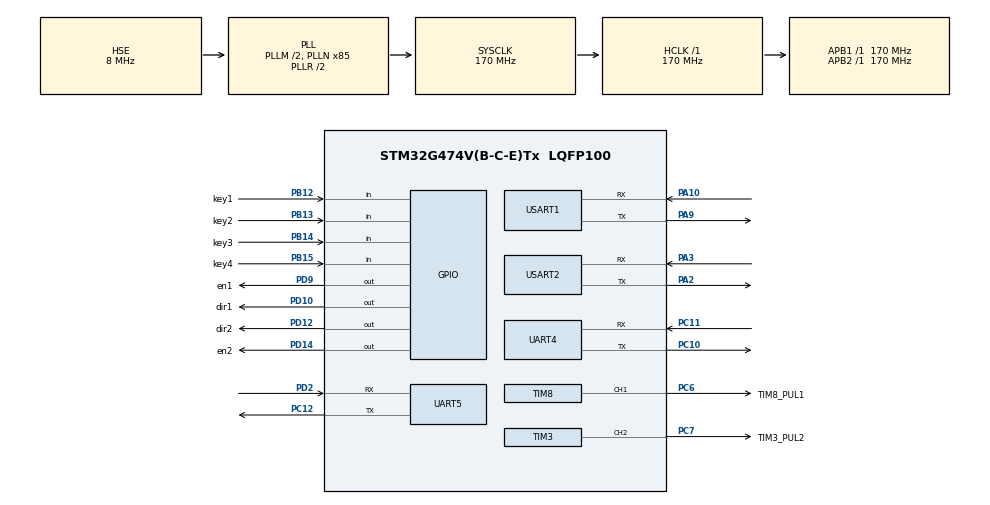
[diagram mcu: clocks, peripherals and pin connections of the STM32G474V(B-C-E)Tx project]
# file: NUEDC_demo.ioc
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Dma.MEMTOMEM.4.Direction=DMA_MEMORY_TO_MEMORY
Dma.MEMTOMEM.4.EventEnable=DISABLE
Dma.MEMTOMEM.4.Instance=DMA1_Channel1
Dma.MEMTOMEM.4.MemDataAlignment=DMA_MDATAALIGN_BYTE
Dma.MEMTOMEM.4.MemInc=DMA_MINC_ENABLE
Dma.MEMTOMEM.4.Mode=DMA_NORMAL
Dma.MEMTOMEM.4.PeriphDataAlignment=DMA_PDATAALIGN_BYTE
Dma.MEMTOMEM.4.PeriphInc=DMA_PINC_ENABLE
Dma.MEMTOMEM.4.Polarity=HAL_DMAMUX_REQ_GEN_RISING
Dma.MEMTOMEM.4.Priority=DMA_PRIORITY_LOW
Dma.MEMTOMEM.4.RequestNumber=1
Dma.MEMTOMEM.4.SignalID=NONE
Dma.MEMTOMEM.4.SyncEnable=DISABLE
Dma.MEMTOMEM.4.SyncPolarity=HAL_DMAMUX_SYNC_NO_EVENT
Dma.MEMTOMEM.4.SyncRequestNumber=1
Dma.MEMTOMEM.4.SyncSignalID=NONE
Dma.MEMTOMEM.5.Direction=DMA_MEMORY_TO_MEMORY
Dma.MEMTOMEM.5.EventEnable=DISABLE
Dma.MEMTOMEM.5.Instance=DMA2_Channel1
Dma.MEMTOMEM.5.MemDataAlignment=DMA_MDATAALIGN_BYTE
Dma.MEMTOMEM.5.MemInc=DMA_MINC_ENABLE
Dma.MEMTOMEM.5.Mode=DMA_NORMAL
Dma.MEMTOMEM.5.PeriphDataAlignment=DMA_PDATAALIGN_BYTE
Dma.MEMTOMEM.5.PeriphInc=DMA_PINC_ENABLE
Dma.MEMTOMEM.5.Polarity=HAL_DMAMUX_REQ_GEN_RISING
Dma.MEMTOMEM.5.Priority=DMA_PRIORITY_LOW
Dma.MEMTOMEM.5.RequestNumber=1
Dma.MEMTOMEM.5.SignalID=NONE
Dma.MEMTOMEM.5.SyncEnable=DISABLE
Dma.MEMTOMEM.5.SyncPolarity=HAL_DMAMUX_SYNC_NO_EVENT
Dma.MEMTOMEM.5.SyncRequestNumber=1
Dma.MEMTOMEM.5.SyncSignalID=NONE
Dma.Request0=UART4_RX
Dma.Request1=UART4_TX
Dma.Request2=UART5_RX
Dma.Request3=UART5_TX
Dma.Request4=MEMTOMEM
Dma.Request5=MEMTOMEM
Dma.Request6=USART2_RX
Dma.Request7=USART2_TX
Dma.UART4_RX.0.Direction=DMA_PERIPH_TO_MEMORY
Dma.UART4_RX.0.EventEnable=DISABLE
Dma.UART4_RX.0.Instance=DMA2_Channel2
Dma.UART4_RX.0.MemDataAlignment=DMA_MDATAALIGN_BYTE
Dma.UART4_RX.0.MemInc=DMA_MINC_ENABLE
Dma.UART4_RX.0.Mode=DMA_CIRCULAR
Dma.UART4_RX.0.PeriphDataAlignment=DMA_PDATAALIGN_BYTE
Dma.UART4_RX.0.PeriphInc=DMA_PINC_DISABLE
Dma.UART4_RX.0.Polarity=HAL_DMAMUX_REQ_GEN_RISING
Dma.UART4_RX.0.Priority=DMA_PRIORITY_HIGH
Dma.UART4_RX.0.RequestNumber=1
Dma.UART4_RX.0.SignalID=NONE
Dma.UART4_RX.0.SyncEnable=DISABLE
Dma.UART4_RX.0.SyncPolarity=HAL_DMAMUX_SYNC_NO_EVENT
Dma.UART4_RX.0.SyncRequestNumber=1
Dma.UART4_RX.0.SyncSignalID=NONE
Dma.UART4_TX.1.Direction=DMA_MEMORY_TO_PERIPH
Dma.UART4_TX.1.EventEnable=DISABLE
Dma.UART4_TX.1.Instance=DMA2_Channel7
Dma.UART4_TX.1.MemDataAlignment=DMA_MDATAALIGN_BYTE
Dma.UART4_TX.1.MemInc=DMA_MINC_ENABLE
Dma.UART4_TX.1.Mode=DMA_NORMAL
Dma.UART4_TX.1.PeriphDataAlignment=DMA_PDATAALIGN_BYTE
Dma.UART4_TX.1.PeriphInc=DMA_PINC_DISABLE
Dma.UART4_TX.1.Polarity=HAL_DMAMUX_REQ_GEN_RISING
Dma.UART4_TX.1.Priority=DMA_PRIORITY_HIGH
Dma.UART4_TX.1.RequestNumber=1
Dma.UART4_TX.1.SignalID=NONE
Dma.UART4_TX.1.SyncEnable=DISABLE
Dma.UART4_TX.1.SyncPolarity=HAL_DMAMUX_SYNC_NO_EVENT
Dma.UART4_TX.1.SyncRequestNumber=1
Dma.UART4_TX.1.SyncSignalID=NONE
Dma.UART5_RX.2.Direction=DMA_PERIPH_TO_MEMORY
Dma.UART5_RX.2.EventEnable=DISABLE
Dma.UART5_RX.2.Instance=DMA1_Channel2
Dma.UART5_RX.2.MemDataAlignment=DMA_MDATAALIGN_BYTE
Dma.UART5_RX.2.MemInc=DMA_MINC_ENABLE
Dma.UART5_RX.2.Mode=DMA_CIRCULAR
Dma.UART5_RX.2.PeriphDataAlignment=DMA_PDATAALIGN_BYTE
Dma.UART5_RX.2.PeriphInc=DMA_PINC_DISABLE
Dma.UART5_RX.2.Polarity=HAL_DMAMUX_REQ_GEN_RISING
Dma.UART5_RX.2.Priority=DMA_PRIORITY_HIGH
Dma.UART5_RX.2.RequestNumber=1
Dma.UART5_RX.2.SignalID=NONE
Dma.UART5_RX.2.SyncEnable=DISABLE
Dma.UART5_RX.2.SyncPolarity=HAL_DMAMUX_SYNC_NO_EVENT
Dma.UART5_RX.2.SyncRequestNumber=1
Dma.UART5_RX.2.SyncSignalID=NONE
Dma.UART5_TX.3.Direction=DMA_MEMORY_TO_PERIPH
Dma.UART5_TX.3.EventEnable=DISABLE
Dma.UART5_TX.3.Instance=DMA1_Channel7
Dma.UART5_TX.3.MemDataAlignment=DMA_MDATAALIGN_BYTE
Dma.UART5_TX.3.MemInc=DMA_MINC_ENABLE
Dma.UART5_TX.3.Mode=DMA_NORMAL
Dma.UART5_TX.3.PeriphDataAlignment=DMA_PDATAALIGN_BYTE
Dma.UART5_TX.3.PeriphInc=DMA_PINC_DISABLE
Dma.UART5_TX.3.Polarity=HAL_DMAMUX_REQ_GEN_RISING
Dma.UART5_TX.3.Priority=DMA_PRIORITY_HIGH
Dma.UART5_TX.3.RequestNumber=1
Dma.UART5_TX.3.SignalID=NONE
Dma.UART5_TX.3.SyncEnable=DISABLE
Dma.UART5_TX.3.SyncPolarity=HAL_DMAMUX_SYNC_NO_EVENT
Dma.UART5_TX.3.SyncRequestNumber=1
Dma.UART5_TX.3.SyncSignalID=NONE
Dma.USART2_RX.6.Direction=DMA_PERIPH_TO_MEMORY
Dma.USART2_RX.6.EventEnable=DISABLE
Dma.USART2_RX.6.Instance=DMA1_Channel3
Dma.USART2_RX.6.MemDataAlignment=DMA_MDATAALIGN_BYTE
Dma.USART2_RX.6.MemInc=DMA_MINC_ENABLE
Dma.USART2_RX.6.Mode=DMA_NORMAL
Dma.USART2_RX.6.PeriphDataAlignment=DMA_PDATAALIGN_BYTE
Dma.USART2_RX.6.PeriphInc=DMA_PINC_DISABLE
Dma.USART2_RX.6.Polarity=HAL_DMAMUX_REQ_GEN_RISING
Dma.USART2_RX.6.Priority=DMA_PRIORITY_LOW
Dma.USART2_RX.6.RequestNumber=1
Dma.USART2_RX.6.SignalID=NONE
Dma.USART2_RX.6.SyncEnable=DISABLE
Dma.USART2_RX.6.SyncPolarity=HAL_DMAMUX_SYNC_NO_EVENT
Dma.USART2_RX.6.SyncRequestNumber=1
Dma.USART2_RX.6.SyncSignalID=NONE
Dma.USART2_TX.7.Direction=DMA_MEMORY_TO_PERIPH
Dma.USART2_TX.7.EventEnable=DISABLE
Dma.USART2_TX.7.Instance=DMA1_Channel4
Dma.USART2_TX.7.MemDataAlignment=DMA_MDATAALIGN_BYTE
Dma.USART2_TX.7.MemInc=DMA_MINC_ENABLE
Dma.USART2_TX.7.Mode=DMA_NORMAL
Dma.USART2_TX.7.PeriphDataAlignment=DMA_PDATAALIGN_BYTE
Dma.USART2_TX.7.PeriphInc=DMA_PINC_DISABLE
Dma.USART2_TX.7.Polarity=HAL_DMAMUX_REQ_GEN_RISING
Dma.USART2_TX.7.Priority=DMA_PRIORITY_LOW
Dma.USART2_TX.7.RequestNumber=1
Dma.USART2_TX.7.SignalID=NONE
Dma.USART2_TX.7.SyncEnable=DISABLE
Dma.USART2_TX.7.SyncPolarity=HAL_DMAMUX_SYNC_NO_EVENT
Dma.USART2_TX.7.SyncRequestNumber=1
Dma.USART2_TX.7.SyncSignalID=NONE
Mcu.Family=STM32G4
Mcu.Name=STM32G474V(B-C-E)Tx
Mcu.Package=LQFP100
NVIC.DMA1_Channel2_IRQn=true\:0\:0\:false\:false\:true\:false\:true\:true
NVIC.DMA1_Channel3_IRQn=true\:0\:0\:false\:false\:true\:false\:true\:true
NVIC.DMA1_Channel4_IRQn=true\:0\:0\:false\:false\:true\:false\:true\:true
NVIC.DMA1_Channel7_IRQn=true\:0\:0\:false\:false\:true\:false\:true\:true
NVIC.DMA2_Channel2_IRQn=true\:0\:0\:false\:false\:true\:false\:true\:true
NVIC.DMA2_Channel7_IRQn=true\:0\:0\:false\:false\:true\:false\:true\:true
NVIC.PriorityGroup=NVIC_PRIORITYGROUP_4
NVIC.TIM1_UP_TIM16_IRQn=true\:0\:0\:false\:false\:true\:true\:true\:true
NVIC.TIM3_IRQn=true\:0\:0\:false\:false\:true\:true\:true\:true
NVIC.TIM6_DAC_IRQn=true\:0\:0\:false\:false\:true\:true\:true\:true
NVIC.TIM7_DAC_IRQn=true\:0\:0\:false\:false\:true\:true\:true\:true
NVIC.TIM8_UP_IRQn=true\:0\:0\:false\:false\:true\:true\:true\:true
NVIC.UART4_IRQn=true\:0\:0\:false\:false\:true\:true\:true\:true
NVIC.UART5_IRQn=true\:0\:0\:false\:false\:true\:true\:true\:true
NVIC.USART1_IRQn=true\:0\:0\:false\:false\:true\:true\:true\:true
NVIC.USART2_IRQn=true\:0\:0\:false\:false\:true\:true\:true\:true
PA10.Mode=Asynchronous
PA10.Signal=USART1_RX
PA13.Mode=Serial_Wire
PA13.Signal=SYS_JTMS-SWDIO
PA14.Mode=Serial_Wire
PA14.Signal=SYS_JTCK-SWCLK
PA2.Mode=Asynchronous
PA2.Signal=USART2_TX
PA3.Mode=Asynchronous
PA3.Signal=USART2_RX
PA9.Mode=Asynchronous
PA9.Signal=USART1_TX
PB12.GPIO_Label=key1
PB12.GPIO_PuPd=GPIO_PULLUP
PB12.Signal=GPIO_Input
PB13.GPIO_Label=key2
PB13.GPIO_PuPd=GPIO_PULLUP
PB13.Signal=GPIO_Input
PB14.GPIO_Label=key3
PB14.GPIO_PuPd=GPIO_PULLUP
PB14.Signal=GPIO_Input
PB15.GPIO_Label=key4
PB15.GPIO_PuPd=GPIO_PULLUP
PB15.Signal=GPIO_Input
PC10.GPIO_PuPd=GPIO_PULLUP
PC10.GPIO_Speed=GPIO_SPEED_FREQ_VERY_HIGH
PC10.Mode=Asynchronous
PC10.Signal=UART4_TX
PC11.GPIO_PuPd=GPIO_PULLUP
PC11.GPIO_Speed=GPIO_SPEED_FREQ_VERY_HIGH
PC11.Mode=Asynchronous
PC11.Signal=UART4_RX
PC12.GPIO_PuPd=GPIO_PULLUP
PC12.GPIO_Speed=GPIO_SPEED_FREQ_VERY_HIGH
PC12.Mode=Asynchronous
PC12.Signal=UART5_TX
PC6.GPIO_Label=TIM8_PUL1
PC6.Signal=S_TIM8_CH1
PC7.GPIO_Label=TIM3_PUL2
PC7.Signal=S_TIM3_CH2
PD10.GPIO_Label=dir1
PD10.Signal=GPIO_Output
PD12.GPIO_Label=dir2
PD12.Signal=GPIO_Output
PD14.GPIO_Label=en2
PD14.Signal=GPIO_Output
PD2.GPIO_PuPd=GPIO_PULLUP
PD2.GPIO_Speed=GPIO_SPEED_FREQ_VERY_HIGH
PD2.Mode=Asynchronous
PD2.Signal=UART5_RX
PD9.GPIO_Label=en1
PD9.Signal=GPIO_Output
PF0-OSC_IN.Mode=HSE-External-Oscillator
PF0-OSC_IN.Signal=RCC_OSC_IN
PF1-OSC_OUT.Mode=HSE-External-Oscillator
PF1-OSC_OUT.Signal=RCC_OSC_OUT
ProjectManager.HeapSize=0x200
ProjectManager.StackSize=0x400
ProjectManager.TargetToolchain=MDK-ARM V5.32
RCC.ADC12Freq_Value=170000000
RCC.ADC345Freq_Value=170000000
RCC.AHBFreq_Value=170000000
RCC.APB1Freq_Value=170000000
RCC.APB1TimFreq_Value=170000000
RCC.APB2Freq_Value=170000000
RCC.APB2TimFreq_Value=170000000
RCC.CortexFreq_Value=170000000
RCC.EXTERNAL_CLOCK_VALUE=12288000
RCC.HCLKFreq_Value=170000000
RCC.HSE_VALUE=8000000
RCC.HSI48_VALUE=48000000
RCC.HSI_VALUE=16000000
RCC.LSE_VALUE=32768
RCC.PLLM=RCC_PLLM_DIV2
RCC.PLLN=85
RCC.PLLSourceVirtual=RCC_PLLSOURCE_HSE
RCC.SYSCLKFreq_VALUE=170000000
RCC.SYSCLKSource=RCC_SYSCLKSOURCE_PLLCLK
RCC.USBFreq_Value=170000000
RCC.VCOOutputFreq_Value=340000000
SH.S_TIM3_CH2.0=TIM3_CH2,PWM Generation2 CH2
SH.S_TIM8_CH1.0=TIM8_CH1,PWM Generation1 CH1
TIM1.PeriodNoDither=10000-1
TIM1.Prescaler=170-1
TIM3.Channel-PWM\ Generation2\ CH2=TIM_CHANNEL_2
TIM3.PeriodNoDither=1000-1
TIM3.Prescaler=1000-1
TIM3.PulseNoDither_2=500
TIM6.PeriodNoDither=1000-1
TIM6.Prescaler=1700-1
TIM7.PeriodNoDither=1000-1
TIM7.Prescaler=1700-1
TIM8.Channel-PWM\ Generation1\ CH1=TIM_CHANNEL_1
TIM8.PeriodNoDither=1000-1
TIM8.Prescaler=1000-1
TIM8.PulseNoDither_1=500
USART1.VirtualMode-Asynchronous=VM_ASYNC
USART2.VirtualMode-Asynchronous=VM_ASYNC
VP_SYS_VS_DBSignals.Mode=DisableDeadBatterySignals
VP_TIM1_VS_ClockSourceINT.Mode=Internal
VP_TIM3_VS_ClockSourceINT.Mode=Internal
VP_TIM6_VS_ClockSourceINT.Mode=Enable_Timer
VP_TIM7_VS_ClockSourceINT.Mode=Enable_Timer
VP_TIM8_VS_ClockSourceINT.Mode=Internal
board=custom

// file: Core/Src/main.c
/* USER CODE BEGIN Header */
/**
  ******************************************************************************
  * @file           : main.c
  * @brief          : Main program body
  ******************************************************************************
  * @attention
  *
  * Copyright (c) 2025 STMicroelectronics.
  * All rights reserved.
  *
  * This software is licensed under terms that can be found in the LICENSE file
  * in the root directory of this software component.
  * If no LICENSE file comes with this software, it is provided AS-IS.
  *
  ******************************************************************************
  */
/* USER CODE END Header */
#include "main.h"
#include "dma.h"
#include "tim.h"
#include "usart.h"
#include "gpio.h"

/* USER CODE BEGIN Includes */
#include "stdio.h"
#include "string.h"
#include "interrupt.h"
#include "stdlib.h"
#include "math.h"

#define motor_xifeng 64.0f
/* USER CODE END Includes */

/* USER CODE BEGIN PV */
float Motor_Cur_Pos_1 = 0.0f;
float Motor_Cur_Pos_2 = 0.0f;

//uart1 for nano/windows uart2 for uart_screen
char rxdata_1[70]={0};
uint8_t rxdat_1;
uint8_t rx_pointer_1=0;

extern struct keys key[4];

int rx_target_pixel_x ;      // 目标像素X
int rx_target_pixel_y;      // 目标像素Y

uint32_t Pulse_Cnt_1=0;
uint32_t Pulse_exp_Cnt_1=0;
uint8_t motor_running_1 = 0;     // 电机运行状态（0-停止，1-运行）

uint32_t Pulse_Cnt_2=0;
uint32_t Pulse_exp_Cnt_2=0;
uint8_t motor_running_2 = 0;     // 电机运行状态（0-停止，1-运行）

uint8_t jy62[33]={0};
extern float angl[3];
char myYAWCMD[3] = {0XFF,0XAA,0X52};

float angle_test=0;
uint8_t laser_flag=0;

int tiaozhen_angle=0;
/* USER CODE END PV */

void SystemClock_Config(void);

/* USER CODE BEGIN 0 */
int fputc(int ch, FILE *f)
{
    HAL_UART_Transmit(&huart1, (uint8_t*)&ch, 1, HAL_MAX_DELAY);
    return ch;
}

void Motor1_Set_angle(float angle) //一个电机转动指定角度，用之前先停止pwm输出
{
	if (motor_running_1 || angle==0) return;  // 若正在运行，忽略新指令

	int temp = (int)(angle * motor_xifeng / 1.8f);

	if(temp>=0)
		HAL_GPIO_WritePin(GPIOD,GPIO_PIN_10,1);
	else
	{
		HAL_GPIO_WritePin(GPIOD,GPIO_PIN_10,0);
		temp=-temp;
	}

	Pulse_exp_Cnt_1 = temp;
	motor_running_1 = 1;          // 标记运行状态

	/*开启定时器更新中断*/
	HAL_TIM_Base_Start_IT(&htim8);
	/*开始输出PWM*/
	HAL_TIM_PWM_Start(&htim8,TIM_CHANNEL_1);
}

void Motor2_Set_angle(float angle) //一个电机转动指定角度，用之前先停止pwm输出
{
	if (motor_running_2 || angle==0) return;  // 若正在运行，忽略新指令

	int temp = (int)(angle * motor_xifeng / 1.8f);

	if(temp>=0)
		HAL_GPIO_WritePin(GPIOD,GPIO_PIN_12,1);
	else
	{
		HAL_GPIO_WritePin(GPIOD,GPIO_PIN_12,0);
		temp=-temp;
	}

	Pulse_exp_Cnt_2 = temp;
	motor_running_2 = 1;          // 标记运行状态

	/*开启定时器更新中断*/
	HAL_TIM_Base_Start_IT(&htim3);
	/*开始输出PWM*/
	HAL_TIM_PWM_Start(&htim3,TIM_CHANNEL_2);
}

// 返回值单位：角度（float），正值 = 顺时针 CW，负值 = 逆时针 CCW
float nearest_to_zero_float(float angle) {
    // 归一化角度到 [0, 360)
    while (angle >= 360.0f) angle -= 360.0f;
    while (angle < 0.0f) angle += 360.0f;

    // 计算顺时针（CW）和逆时针（CCW）角度
    float cw = 360.0f - angle;  // 顺时针回零
    float ccw = -angle;         // 逆时针回零

    // 选择绝对值更小的方向
    if (cw <= -ccw) {
        return cw;   // 顺时针回零
    } else {
        return ccw;  // 逆时针回零
    }
}

void uart_rx_proc_1(void);

void key_prc(void);
void read_angle_1(void);
void read_angle_2(void);
/* USER CODE END 0 */

int main(void)
{

  /* MCU Configuration--------------------------------------------------------*/

  /* Reset of all peripherals, Initializes the Flash interface and the Systick. */
  HAL_Init();

  /* Configure the system clock */
  SystemClock_Config();

  /* Initialize all configured peripherals */
  MX_GPIO_Init();
  MX_DMA_Init();
  MX_TIM1_Init();
  MX_USART1_UART_Init();
  MX_UART4_Init();
  MX_UART5_Init();
  MX_TIM3_Init();
  MX_TIM8_Init();
  MX_TIM6_Init();
  MX_TIM7_Init();
  MX_USART2_UART_Init();
  /* USER CODE BEGIN 2 */
	__HAL_UART_CLEAR_IDLEFLAG(&huart4); 											// ���IDLE��־
	__HAL_UART_ENABLE_IT(&huart4, UART_IT_IDLE); 							// ʹ�ܴ�UART4 IDLE�ж�
  HAL_UART_Receive_DMA(&huart4, (uint8_t *)rxCmd_1, CMD_LEN_1); // ����DMA����ģʽ

	__HAL_UART_CLEAR_IDLEFLAG(&huart5); 											// ���IDLE��־
	__HAL_UART_ENABLE_IT(&huart5, UART_IT_IDLE); 							// ʹ�ܴ�UART5 IDLE�ж�
  HAL_UART_Receive_DMA(&huart5, (uint8_t *)rxCmd_2, CMD_LEN_2); // ����DMA����ģʽ

    __HAL_UART_ENABLE_IT(&huart2,UART_IT_IDLE); //start NVIC jy62
	HAL_UART_Receive_DMA(&huart2,jy62,33);
  HAL_UART_Transmit_DMA(&huart2,(uint8_t*)myYAWCMD,3);

	//start uart receive
	HAL_UART_Receive_IT(&huart1,&rxdat_1,1);

	//key scan timer
	HAL_TIM_Base_Start_IT(&htim1);

//	HAL_Delay(4000); //等待接收

	HAL_GPIO_WritePin(GPIOD,GPIO_PIN_9,0);
	HAL_GPIO_WritePin(GPIOD,GPIO_PIN_14,0);

	HAL_GPIO_WritePin(GPIOD,GPIO_PIN_10,1);
	HAL_GPIO_WritePin(GPIOD,GPIO_PIN_12,1);

  /* USER CODE END 2 */

  /* Infinite loop */
  while (1)
  {

    /* USER CODE BEGIN 3 */

	 if(rx_pointer_1!=0)
	 {
		int temp=rx_pointer_1;
		HAL_Delay(1);
		if(temp==rx_pointer_1)
			uart_rx_proc_1();
	 }

	key_prc();
  }
  /* USER CODE END 3 */
}

void SystemClock_Config(void)
{
  RCC_OscInitTypeDef RCC_OscInitStruct = {0};
  RCC_ClkInitTypeDef RCC_ClkInitStruct = {0};

  /** Configure the main internal regulator output voltage
  */
  HAL_PWREx_ControlVoltageScaling(PWR_REGULATOR_VOLTAGE_SCALE1_BOOST);

  /** Initializes the RCC Oscillators according to the specified parameters
  * in the RCC_OscInitTypeDef structure.
  */
  RCC_OscInitStruct.OscillatorType = RCC_OSCILLATORTYPE_HSE;
  RCC_OscInitStruct.HSEState = RCC_HSE_ON;
  RCC_OscInitStruct.PLL.PLLState = RCC_PLL_ON;
  RCC_OscInitStruct.PLL.PLLSource = RCC_PLLSOURCE_HSE;
  RCC_OscInitStruct.PLL.PLLM = RCC_PLLM_DIV2;
  RCC_OscInitStruct.PLL.PLLN = 85;
  RCC_OscInitStruct.PLL.PLLP = RCC_PLLP_DIV2;
  RCC_OscInitStruct.PLL.PLLQ = RCC_PLLQ_DIV2;
  RCC_OscInitStruct.PLL.PLLR = RCC_PLLR_DIV2;
  if (HAL_RCC_OscConfig(&RCC_OscInitStruct) != HAL_OK)
  {
    Error_Handler();
  }

  /** Initializes the CPU, AHB and APB buses clocks
  */
  RCC_ClkInitStruct.ClockType = RCC_CLOCKTYPE_HCLK|RCC_CLOCKTYPE_SYSCLK
                              |RCC_CLOCKTYPE_PCLK1|RCC_CLOCKTYPE_PCLK2;
  RCC_ClkInitStruct.SYSCLKSource = RCC_SYSCLKSOURCE_PLLCLK;
  RCC_ClkInitStruct.AHBCLKDivider = RCC_SYSCLK_DIV1;
  RCC_ClkInitStruct.APB1CLKDivider = RCC_HCLK_DIV1;
  RCC_ClkInitStruct.APB2CLKDivider = RCC_HCLK_DIV1;

  if (HAL_RCC_ClockConfig(&RCC_ClkInitStruct, FLASH_LATENCY_4) != HAL_OK)
  {
    Error_Handler();
  }
}

/* USER CODE BEGIN 4 */

//uart for windows
void uart_rx_proc_1()
{
	if(rx_pointer_1>0)
	{

		if(rxdata_1[0]=='a' && rxdata_1[1]!='-' && rxdata_1[rx_pointer_1-1]=='b')
		{
			sscanf(rxdata_1,"a%d,%db",&rx_target_pixel_x,&rx_target_pixel_y);
			float error_x = rx_target_pixel_x - 400;
			float error_y = rx_target_pixel_y - 300;
			if (fabsf(error_x) <= 2)
			{
					HAL_TIM_PWM_Stop(&htim8, TIM_CHANNEL_1);
			}
			if (fabsf(error_y) <= 2)
			{
				HAL_TIM_PWM_Stop(&htim3, TIM_CHANNEL_2);
			}
		}
		if(rxdata_1[0]=='a' && rxdata_1[1]=='-' && rxdata_1[rx_pointer_1-1]=='b' && rx_target_pixel_x!=0 && rx_target_pixel_y!=0)
		{
			rx_target_pixel_x = 400;
			rx_target_pixel_y = 300;
		}

	}
	rx_pointer_1=0;
	memset(rxdata_1,0,70);
}

void key_prc(void)
{
	if(key[0].singal_flag==1) //返回上电零点
	{
		__HAL_TIM_SET_PRESCALER(&htim8, 100 - 1);
		__HAL_TIM_SET_PRESCALER(&htim3, 100 - 1);
		HAL_GPIO_WritePin(GPIOD,GPIO_PIN_9,1);
		HAL_GPIO_WritePin(GPIOD,GPIO_PIN_14,1);
		read_angle_1();
		read_angle_2();
		Motor1_Set_angle(-Motor_Cur_Pos_1 + tiaozhen_angle);
		Motor2_Set_angle(-Motor_Cur_Pos_2);
		while (motor_running_1 || motor_running_2)  // 等待动作完成
		{
			printf("");
		}
//		//read jy62 angle
//		// 然后转到指向靶纸正前方
//
//		float temp = angl[2];
//		Motor1_Set_angle(nearest_to_zero_float(temp));
//		while (motor_running_1)
//		{
//			printf("");
//		}

//		HAL_TIM_Base_Start_IT(&htim6);				//开启pid
//		HAL_TIM_PWM_Start(&htim8,TIM_CHANNEL_1);
//		HAL_TIM_Base_Start_IT(&htim7);
//		HAL_TIM_PWM_Start(&htim3,TIM_CHANNEL_2);
//		key[0].singal_flag=0;
	}

	if(key[1].singal_flag==1)
	{
		tiaozhen_angle -= 30;    //向右调整
		key[1].singal_flag=0;
	}

	if(key[2].singal_flag==1)
	{

		tiaozhen_angle += 30;   //向左调整
		key[2].singal_flag=0;
	}

	if(key[3].singal_flag==1)  //急停按键
	{
		HAL_TIM_PWM_Stop(&htim8,TIM_CHANNEL_1);
		HAL_TIM_PWM_Stop(&htim3,TIM_CHANNEL_2);

		key[3].singal_flag=0;
	}
}

//UART_NVIC
void HAL_UART_RxCpltCallback(UART_HandleTypeDef *huart)
{
	if(huart->Instance == USART1)
	{
		rxdata_1[rx_pointer_1++]=rxdat_1;
		HAL_UART_Receive_IT(&huart1,&rxdat_1,1);
	}
}

void read_angle_1(void)
{
  uint8_t i = 0;
  uint8_t cmd[16] = {0};

  // 装载命令
  cmd[i] = 1; ++i;                   // 地址
  cmd[i] = 0x36; ++i;
  cmd[i] = 0x6B; ++i;                   // 校验字节

  // 发送命令
	HAL_UART_Transmit(&huart4, (uint8_t *)cmd, i, 0xffff);   //串口发送三个字节数据，最大传输时间0xffff
//  HAL_UART_Transmit_DMA(&huart4, (uint8_t *)cmd, i);
	while(rxFrameFlag_1 == false);
	rxFrameFlag_1 = false;
	HAL_Delay(1);
	rxFrameFlag_1 = 0;

	if(rxCmd_1[0] == 1 && rxCmd_1[1] == 0x36 && rxCount_1 == 8)
   {

    // 转换成角度
    Motor_Cur_Pos_1 = (float)((uint32_t)(
                      ((uint32_t)rxCmd_1[3] << 24)    |
                      ((uint32_t)rxCmd_1[4] << 16)    |
                      ((uint32_t)rxCmd_1[5] << 8)     |
                      ((uint32_t)rxCmd_1[6] << 0)
                    )) * 360.0f / 65536.0f;

    // 符号
    if(rxCmd_1[2]) { Motor_Cur_Pos_1 = -Motor_Cur_Pos_1; }
   }
}

void read_angle_2(void)
{
  uint8_t i = 0;
  uint8_t cmd[16] = {0};

  // 装载命令
  cmd[i] = 1; ++i;                   // 地址
  cmd[i] = 0x36; ++i;
  cmd[i] = 0x6B; ++i;                   // 校验字节

  // 发送命令
	HAL_UART_Transmit(&huart5, (uint8_t *)cmd, i, 0xffff);   //串口发送三个字节数据，最大传输时间0xffff
//	HAL_UART_Transmit_DMA(&huart5, (uint8_t *)cmd, i);
	while(rxFrameFlag_2 == false);
	rxFrameFlag_2 = false;
	HAL_Delay(1);
	rxFrameFlag_2 = 0;

	if(rxCmd_2[0] == 1 && rxCmd_2[1] == 0x36 && rxCount_2 == 8)
   {

    // 转换成角度
    Motor_Cur_Pos_2 = (float)((uint32_t)(
                      ((uint32_t)rxCmd_2[3] << 24)    |
                      ((uint32_t)rxCmd_2[4] << 16)    |
                      ((uint32_t)rxCmd_2[5] << 8)     |
                      ((uint32_t)rxCmd_2[6] << 0)
                    )) * 360.0f / 65536.0f;

    // 符号
    if(rxCmd_2[2]) { Motor_Cur_Pos_2 = -Motor_Cur_Pos_2; }
   }

}
/* USER CODE END 4 */

void Error_Handler(void)
{
  __disable_irq();
  while (1)
  {
  }
}
